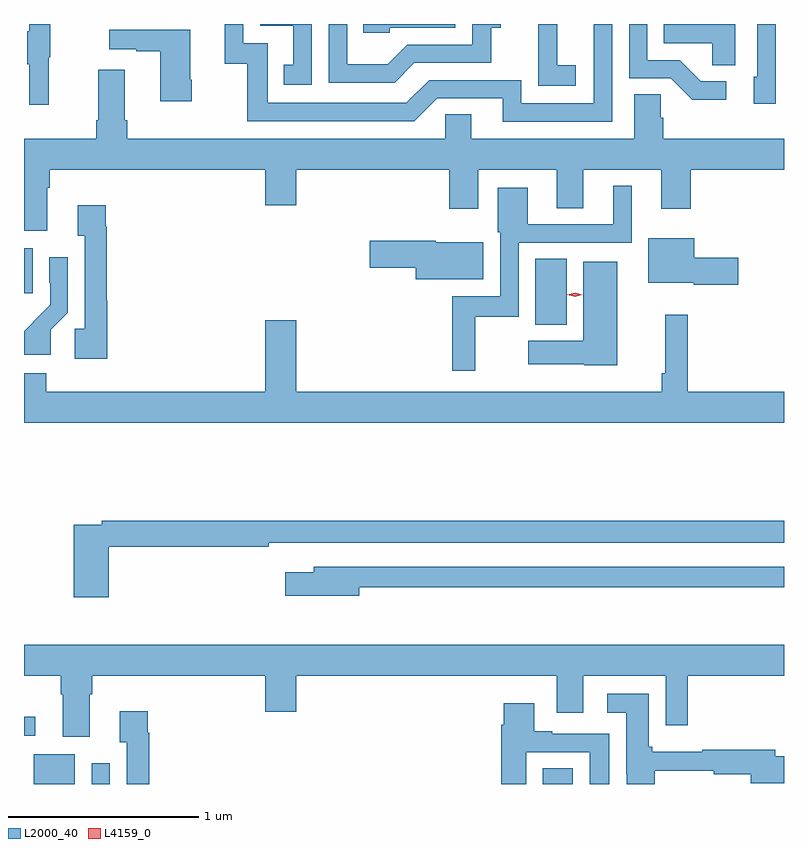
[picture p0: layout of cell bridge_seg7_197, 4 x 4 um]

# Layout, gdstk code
import gdstk
lib = gdstk.Library(unit=1e-6, precision=1e-09)
def R(c, l, rs):  # rectangles x0, y0, x1, y1
    for r in rs: c.add(gdstk.rectangle(r[:2], r[2:], *l))
def P(c, l, *ps):  # polygons
    for p in ps: c.add(gdstk.Polygon(p, *l))
L2000_40 = (2000, 40)
L4159_0 = (4159, 0)

bridge_seg7_197 = lib.new_cell('bridge_seg7_197')
R(bridge_seg7_197, L2000_40, [(547.406,1018.695,547.621,1018.852), (547.71,1018.695,547.806,1018.804), (550.085,1018.695,550.243,1018.778), (547.354,1018.95,547.414,1019.048), (550.046,1021.112,550.21,1021.46), (547.354,1021.277,547.399,1021.516)])
P(bridge_seg7_197, L2000_40, [(548.868,1022.695),(548.598,1022.695),(548.598,1022.685),(548.771,1022.685),(548.771,1022.481),(548.722,1022.481),(548.722,1022.376),(548.868,1022.376)],
  [(550.449,1022.695),(550.353,1022.695),(550.353,1022.277),(549.972,1022.277),(549.972,1022.4),(549.486,1022.4),(549.366,1022.28),(548.637,1022.28),(548.637,1022.595),(548.508,1022.595),(548.508,1022.695),(548.411,1022.695),(548.411,1022.487),(548.529,1022.487),(548.529,1022.184),(549.408,1022.184),(549.528,1022.304),(549.875,1022.304),(549.875,1022.181),(550.449,1022.181)],
  [(551.31,1022.695),(551.214,1022.695),(551.214,1022.418),(551.195,1022.418),(551.195,1022.274),(551.31,1022.274)],
  [(549.409,1022.49),(549.813,1022.49),(549.813,1022.675),(549.862,1022.675),(549.862,1022.695),(549.714,1022.695),(549.714,1022.586),(549.372,1022.586),(549.268,1022.482),(549.054,1022.482),(549.054,1022.695),(548.958,1022.695),(548.958,1022.385),(549.304,1022.385)],
  [(547.484,1022.52),(547.492,1022.52),(547.492,1022.695),(547.382,1022.695),(547.382,1022.657),(547.371,1022.657),(547.371,1022.483),(547.382,1022.483),(547.382,1022.271),(547.484,1022.271)],
  [(551.05,1022.394),(550.915,1022.394),(550.804,1022.505),(550.635,1022.505),(550.635,1022.695),(550.539,1022.695),(550.539,1022.409),(550.758,1022.409),(550.871,1022.297),(551.05,1022.297)],
  [(549.279,1022.676),(549.624,1022.676),(549.624,1022.695),(549.139,1022.695),(549.139,1022.649),(549.279,1022.649)],
  [(550.258,1022.479),(550.16,1022.479),(550.16,1022.695),(550.061,1022.695),(550.061,1022.575),(550.06,1022.575),(550.06,1022.369),(550.258,1022.369)],
  [(551.098,1022.695),(550.72,1022.695),(550.72,1022.594),(550.977,1022.594),(550.977,1022.479),(551.098,1022.479)],
  [(548.238,1022.401),(548.23,1022.401),(548.23,1022.665),(547.803,1022.665),(547.803,1022.561),(547.946,1022.561),(547.946,1022.551),(548.072,1022.551),(548.072,1022.289),(548.238,1022.289)],
  [(547.477,1021.832),(547.49,1021.832),(547.49,1021.928),(548.624,1021.928),(548.624,1021.74),(548.788,1021.74),(548.788,1021.928),(549.593,1021.928),(549.593,1021.722),(549.745,1021.722),(549.745,1021.928),(550.157,1021.928),(550.157,1021.726),(550.297,1021.726),(550.297,1021.928),(550.709,1021.928),(550.709,1021.722),(550.862,1021.722),(550.862,1021.928),(551.354,1021.928),(551.354,1022.092),(550.718,1022.092),(550.718,1022.201),(550.704,1022.201),(550.704,1022.324),(550.565,1022.324),(550.565,1022.092),(549.709,1022.092),(549.709,1022.219),(549.57,1022.219),(549.57,1022.092),(547.898,1022.092),(547.898,1022.188),(547.885,1022.188),(547.885,1022.455),(547.745,1022.455),(547.745,1022.188),(547.733,1022.188),(547.733,1022.092),(547.354,1022.092),(547.354,1021.608),(547.477,1021.608)],
  [(549.728,1021.155),(549.957,1021.155),(549.957,1021.545),(550.552,1021.545),(550.552,1021.843),(550.454,1021.843),(550.454,1021.641),(550.006,1021.641),(550.006,1021.834),(549.848,1021.834),(549.848,1021.598),(549.861,1021.598),(549.861,1021.263),(549.607,1021.263),(549.607,1020.87),(549.728,1020.87)],
  [(547.792,1021.239),(547.79,1021.239),(547.79,1021.628),(547.783,1021.628),(547.783,1021.741),(547.637,1021.741),(547.637,1021.58),(547.674,1021.58),(547.674,1021.092),(547.622,1021.092),(547.622,1020.932),(547.792,1020.932)],
  [(551.113,1021.464),(550.882,1021.464),(550.882,1021.567),(550.64,1021.567),(550.64,1021.334),(550.878,1021.334),(550.878,1021.322),(551.113,1021.322)],
  [(549.772,1021.546),(549.52,1021.546),(549.52,1021.554),(549.174,1021.554),(549.174,1021.412),(549.416,1021.412),(549.416,1021.352),(549.772,1021.352)],
  [(547.495,1021.086),(547.584,1021.175),(547.584,1021.468),(547.488,1021.468),(547.488,1021.334),(547.491,1021.334),(547.491,1021.218),(547.402,1021.129),(547.404,1021.127),(547.354,1021.077),(547.354,1020.954),(547.495,1020.954)],
  [(550.477,1021.444),(550.298,1021.444),(550.298,1021.027),(550.008,1021.027),(550.008,1020.905),(550.302,1020.905),(550.302,1020.899),(550.477,1020.899)],
  [(551.354,1020.76),(550.847,1020.76),(550.847,1021.165),(550.729,1021.165),(550.729,1020.856),(550.711,1020.856),(550.711,1020.76),(548.788,1020.76),(548.788,1021.135),(548.624,1021.135),(548.624,1020.76),(547.472,1020.76),(547.472,1020.858),(547.354,1020.858),(547.354,1020.596),(551.354,1020.596)],
  [(547.799,1019.944),(548.642,1019.944),(548.642,1019.964),(551.354,1019.964),(551.354,1020.08),(547.762,1020.08),(547.762,1020.06),(547.616,1020.06),(547.616,1019.679),(547.799,1019.679)],
  [(549.118,1019.73),(551.354,1019.73),(551.354,1019.838),(548.879,1019.838),(548.879,1019.809),(548.73,1019.809),(548.73,1019.687),(549.118,1019.687)],
  [(547.699,1019.168),(547.712,1019.168),(547.712,1019.264),(548.624,1019.264),(548.624,1019.076),(548.788,1019.076),(548.788,1019.264),(550.157,1019.264),(550.157,1019.07),(550.297,1019.07),(550.297,1019.264),(550.731,1019.264),(550.731,1019.004),(550.847,1019.004),(550.847,1019.264),(551.354,1019.264),(551.354,1019.428),(547.354,1019.428),(547.354,1019.264),(547.547,1019.264),(547.547,1019.168),(547.559,1019.168),(547.559,1018.944),(547.699,1018.944)],
  [(550.673,1018.765),(550.984,1018.765),(550.984,1018.747),(551.18,1018.747),(551.18,1018.7),(551.354,1018.7),(551.354,1018.842),(551.308,1018.842),(551.308,1018.876),(550.924,1018.876),(550.924,1018.864),(550.66,1018.864),(550.66,1018.89),(550.642,1018.89),(550.642,1019.17),(550.425,1019.17),(550.425,1019.069),(550.523,1019.069),(550.523,1018.75),(550.527,1018.75),(550.527,1018.695),(550.673,1018.695)],
  [(549.997,1018.863),(550.331,1018.863),(550.331,1018.695),(550.435,1018.695),(550.435,1018.959),(550.135,1018.959),(550.135,1018.972),(550.039,1018.972),(550.039,1019.119),(549.878,1019.119),(549.878,1019.006),(549.866,1019.006),(549.866,1018.695),(549.997,1018.695)],
  [(548.012,1018.964),(548.005,1018.964),(548.005,1019.077),(547.859,1019.077),(547.859,1018.916),(547.896,1018.916),(547.896,1018.695),(548.012,1018.695)])
P(bridge_seg7_197, L4159_0, [(550.254,1021.26),(550.214,1021.269),(550.214,1021.27),(550.214,1021.27),(550.254,1021.28),(550.293,1021.27),(550.293,1021.27),(550.293,1021.269)])

lib.write_gds('bridge_seg7_197.gds')
